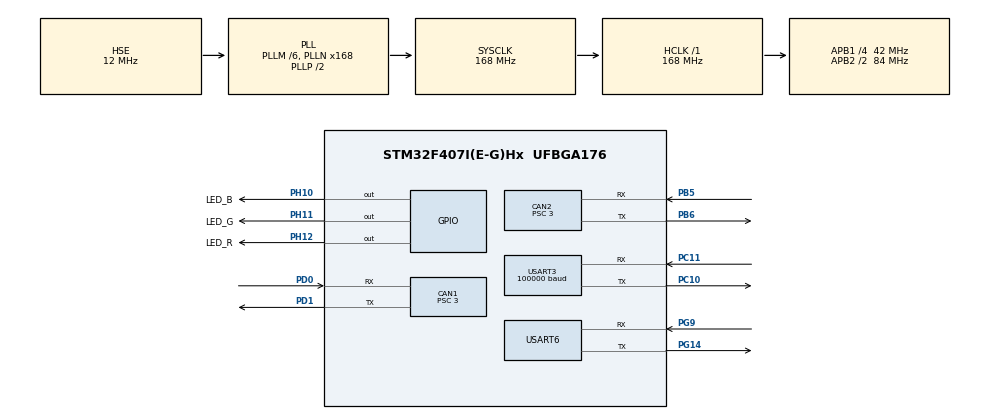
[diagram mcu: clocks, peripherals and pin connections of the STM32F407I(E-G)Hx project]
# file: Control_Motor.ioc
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CAN1.BS1=CAN_BS1_10TQ
CAN1.BS2=CAN_BS2_3TQ
CAN1.CalculateBaudRate=1000000
CAN1.CalculateTimeBit=1000
CAN1.CalculateTimeQuantum=71.42857142857143
CAN1.Prescaler=3
CAN2.BS1=CAN_BS1_10TQ
CAN2.BS2=CAN_BS2_3TQ
CAN2.CalculateBaudRate=1000000
CAN2.CalculateTimeBit=1000
CAN2.CalculateTimeQuantum=71.42857142857143
CAN2.Prescaler=3
Dma.Request0=USART3_RX
Dma.Request1=USART6_TX
Dma.USART3_RX.0.Direction=DMA_PERIPH_TO_MEMORY
Dma.USART3_RX.0.FIFOMode=DMA_FIFOMODE_DISABLE
Dma.USART3_RX.0.Instance=DMA1_Stream1
Dma.USART3_RX.0.MemDataAlignment=DMA_MDATAALIGN_BYTE
Dma.USART3_RX.0.MemInc=DMA_MINC_ENABLE
Dma.USART3_RX.0.Mode=DMA_CIRCULAR
Dma.USART3_RX.0.PeriphDataAlignment=DMA_PDATAALIGN_BYTE
Dma.USART3_RX.0.PeriphInc=DMA_PINC_DISABLE
Dma.USART3_RX.0.Priority=DMA_PRIORITY_VERY_HIGH
Dma.USART6_TX.1.Direction=DMA_MEMORY_TO_PERIPH
Dma.USART6_TX.1.FIFOMode=DMA_FIFOMODE_DISABLE
Dma.USART6_TX.1.Instance=DMA2_Stream6
Dma.USART6_TX.1.MemDataAlignment=DMA_MDATAALIGN_BYTE
Dma.USART6_TX.1.MemInc=DMA_MINC_ENABLE
Dma.USART6_TX.1.Mode=DMA_NORMAL
Dma.USART6_TX.1.PeriphDataAlignment=DMA_PDATAALIGN_BYTE
Dma.USART6_TX.1.PeriphInc=DMA_PINC_DISABLE
Dma.USART6_TX.1.Priority=DMA_PRIORITY_VERY_HIGH
Mcu.Family=STM32F4
Mcu.Name=STM32F407I(E-G)Hx
Mcu.Package=UFBGA176
NVIC.CAN1_RX0_IRQn=true\:0\:0\:false\:false\:true\:true\:true\:true
NVIC.CAN2_RX0_IRQn=true\:0\:0\:false\:false\:true\:true\:true\:true
NVIC.DMA1_Stream1_IRQn=true\:0\:0\:false\:false\:true\:false\:true\:true
NVIC.DMA2_Stream6_IRQn=true\:0\:0\:false\:false\:true\:false\:true\:true
NVIC.PriorityGroup=NVIC_PRIORITYGROUP_4
NVIC.USART3_IRQn=true\:0\:0\:false\:false\:true\:true\:true\:true
NVIC.USART6_IRQn=true\:0\:0\:false\:false\:true\:true\:true\:true
PA13.Mode=Serial_Wire
PA13.Signal=SYS_JTMS-SWDIO
PA14.Mode=Serial_Wire
PA14.Signal=SYS_JTCK-SWCLK
PB5.Mode=CAN_Activate
PB5.Signal=CAN2_RX
PB6.Mode=CAN_Activate
PB6.Signal=CAN2_TX
PC10.GPIO_PuPd=GPIO_PULLUP
PC10.Mode=Asynchronous
PC10.Signal=USART3_TX
PC11.GPIO_PuPd=GPIO_PULLUP
PC11.Mode=Asynchronous
PC11.Signal=USART3_RX
PD0.Mode=CAN_Activate
PD0.Signal=CAN1_RX
PD1.Mode=CAN_Activate
PD1.Signal=CAN1_TX
PG14.GPIO_PuPd=GPIO_PULLUP
PG14.Mode=Asynchronous
PG14.Signal=USART6_TX
PG9.GPIO_PuPd=GPIO_PULLUP
PG9.Mode=Asynchronous
PG9.Signal=USART6_RX
PH0-OSC_IN.Mode=HSE-External-Oscillator
PH0-OSC_IN.Signal=RCC_OSC_IN
PH1-OSC_OUT.Mode=HSE-External-Oscillator
PH1-OSC_OUT.Signal=RCC_OSC_OUT
PH10.GPIO_Label=LED_B
PH10.GPIO_PuPd=GPIO_PULLUP
PH10.PinState=GPIO_PIN_SET
PH10.Signal=GPIO_Output
PH11.GPIO_Label=LED_G
PH11.GPIO_PuPd=GPIO_PULLUP
PH11.PinState=GPIO_PIN_SET
PH11.Signal=GPIO_Output
PH12.GPIO_Label=LED_R
PH12.GPIO_PuPd=GPIO_PULLUP
PH12.PinState=GPIO_PIN_SET
PH12.Signal=GPIO_Output
ProjectManager.HeapSize=0x200
ProjectManager.StackSize=0x400
ProjectManager.TargetToolchain=MDK-ARM V5.32
RCC.48MHZClocksFreq_Value=84000000
RCC.AHBFreq_Value=168000000
RCC.APB1CLKDivider=RCC_HCLK_DIV4
RCC.APB1Freq_Value=42000000
RCC.APB1TimFreq_Value=84000000
RCC.APB2CLKDivider=RCC_HCLK_DIV2
RCC.APB2Freq_Value=84000000
RCC.APB2TimFreq_Value=168000000
RCC.CortexFreq_Value=168000000
RCC.HCLKFreq_Value=168000000
RCC.HSE_VALUE=12000000
RCC.HSI_VALUE=16000000
RCC.LSE_VALUE=32768
RCC.PLLM=6
RCC.PLLN=168
RCC.PLLSourceVirtual=RCC_PLLSOURCE_HSE
RCC.SYSCLKFreq_VALUE=168000000
RCC.SYSCLKSource=RCC_SYSCLKSOURCE_PLLCLK
RCC.VCOOutputFreq_Value=336000000
USART3.BaudRate=100000
USART3.Parity=PARITY_EVEN
USART3.VirtualMode=VM_ASYNC
USART6.VirtualMode=VM_ASYNC
board=custom

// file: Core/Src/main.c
/* USER CODE BEGIN Header */
/**
  ******************************************************************************
  * @file           : main.c
  * @brief          : Main program body
  ******************************************************************************
  * @attention
  *
  * Copyright (c) 2024 STMicroelectronics.
  * All rights reserved.
  *
  * This software is licensed under terms that can be found in the LICENSE file
  * in the root directory of this software component.
  * If no LICENSE file comes with this software, it is provided AS-IS.
  *
  ******************************************************************************
  */
/* USER CODE END Header */
#include "main.h"
#include "can.h"
#include "dma.h"
#include "usart.h"
#include "gpio.h"

/* USER CODE BEGIN Includes */
#include "bsp_can.h"
#include "CAN_receive.h"
#include "remote_control.h"
#include "bsp_usart.h"
#include "string.h"
#include <stdio.h>
#include <stdarg.h>
#include "pid.h"
/* USER CODE END Includes */

void SystemClock_Config(void);

/* USER CODE BEGIN 0 */

const RC_ctrl_t *local_rc_ctrl;

void usart_printf(const char *fmt,...)
{
    static uint8_t tx_buf[256] = {0};
    static va_list ap;
    static uint16_t len;
    va_start(ap, fmt);

    //return length of string

    len = vsprintf((char *)tx_buf, fmt, ap);

    va_end(ap);

//    usart6_tx_dma_enable(tx_buf, len);
	HAL_UART_Transmit_DMA(&huart6, tx_buf, len);
}

PID vec;
int ecd_vec = 0;
int target = 200;//电机转速目标,具体看电机的

/* USER CODE END 0 */

int main(void)
{

  /* MCU Configuration--------------------------------------------------------*/

  /* Reset of all peripherals, Initializes the Flash interface and the Systick. */
  HAL_Init();

  /* Configure the system clock */
  SystemClock_Config();

  /* Initialize all configured peripherals */
  MX_GPIO_Init();
  MX_DMA_Init();
  MX_CAN1_Init();
  MX_CAN2_Init();
  MX_USART3_UART_Init();
  MX_USART6_UART_Init();
  /* USER CODE BEGIN 2 */
    can_filter_init();
    remote_control_init();
    usart6_tx_dma_init();
    local_rc_ctrl = get_remote_control_point();

    initPID(&vec,16384,5000);
    setPIDParam(&vec,10,0.5,0.0);
    setPIDTarget(&vec,target);
  /* USER CODE END 2 */

  /* Infinite loop */
  while (1)
  {

    /* USER CODE BEGIN 3 */
    ecd_vec = get_chassis_motor_measure_point(0)->speed_rpm;
    updatePID(&vec,ecd_vec);
    CAN_cmd_chassis(vec.output,0,0,0);

    HAL_Delay(2);

  }
  /* USER CODE END 3 */
}

void SystemClock_Config(void)
{
  RCC_OscInitTypeDef RCC_OscInitStruct = {0};
  RCC_ClkInitTypeDef RCC_ClkInitStruct = {0};

  /** Configure the main internal regulator output voltage
  */
  __HAL_RCC_PWR_CLK_ENABLE();
  __HAL_PWR_VOLTAGESCALING_CONFIG(PWR_REGULATOR_VOLTAGE_SCALE1);

  /** Initializes the RCC Oscillators according to the specified parameters
  * in the RCC_OscInitTypeDef structure.
  */
  RCC_OscInitStruct.OscillatorType = RCC_OSCILLATORTYPE_HSE;
  RCC_OscInitStruct.HSEState = RCC_HSE_ON;
  RCC_OscInitStruct.PLL.PLLState = RCC_PLL_ON;
  RCC_OscInitStruct.PLL.PLLSource = RCC_PLLSOURCE_HSE;
  RCC_OscInitStruct.PLL.PLLM = 6;
  RCC_OscInitStruct.PLL.PLLN = 168;
  RCC_OscInitStruct.PLL.PLLP = RCC_PLLP_DIV2;
  RCC_OscInitStruct.PLL.PLLQ = 4;
  if (HAL_RCC_OscConfig(&RCC_OscInitStruct) != HAL_OK)
  {
    Error_Handler();
  }

  /** Initializes the CPU, AHB and APB buses clocks
  */
  RCC_ClkInitStruct.ClockType = RCC_CLOCKTYPE_HCLK|RCC_CLOCKTYPE_SYSCLK
                              |RCC_CLOCKTYPE_PCLK1|RCC_CLOCKTYPE_PCLK2;
  RCC_ClkInitStruct.SYSCLKSource = RCC_SYSCLKSOURCE_PLLCLK;
  RCC_ClkInitStruct.AHBCLKDivider = RCC_SYSCLK_DIV1;
  RCC_ClkInitStruct.APB1CLKDivider = RCC_HCLK_DIV4;
  RCC_ClkInitStruct.APB2CLKDivider = RCC_HCLK_DIV2;

  if (HAL_RCC_ClockConfig(&RCC_ClkInitStruct, FLASH_LATENCY_5) != HAL_OK)
  {
    Error_Handler();
  }
}

void Error_Handler(void)
{
  __disable_irq();
  while (1)
  {
  }
}
